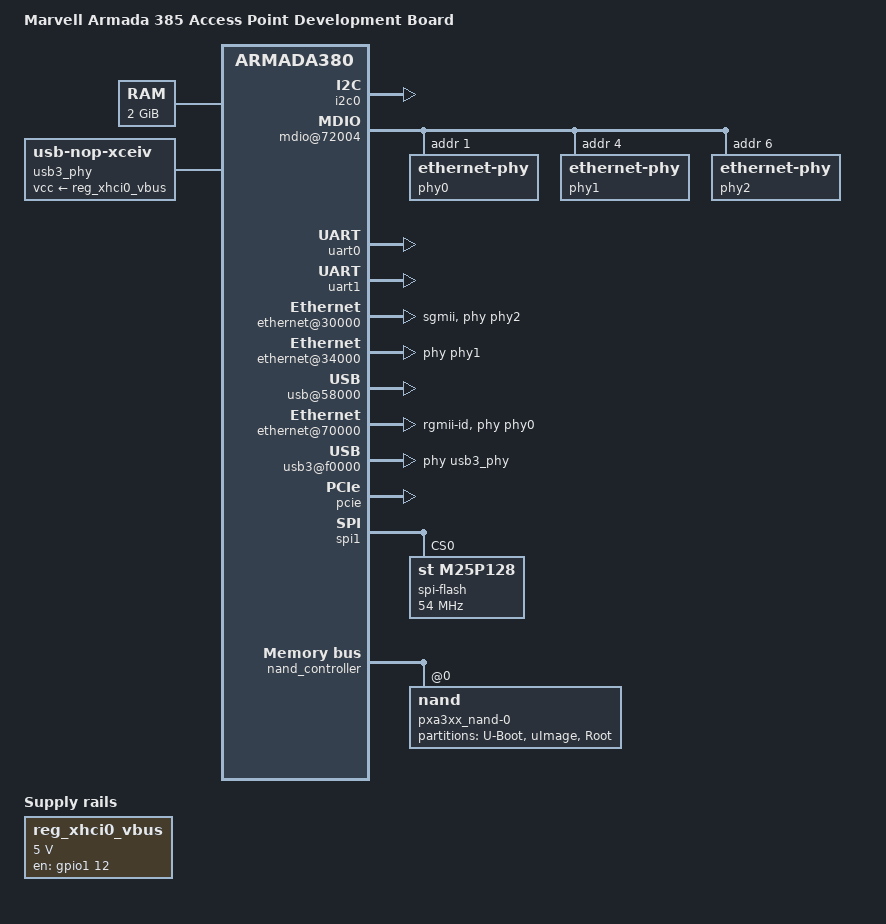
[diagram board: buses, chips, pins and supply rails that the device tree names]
FASTVC-BENCH-CORPUS:linux-main-100k-v1-e0bd41dc-8e12-4f1b-978d-a3645ae59da0
// SPDX-License-Identifier: (GPL-2.0 OR MIT)
/*
 * Device Tree file for Marvell Armada 385 Access Point Development board
 * (DB-88F6820-AP)
 *
 *  Copyright (C) 2014 Marvell
 *
 * Nadav Haklai <nadavh@marvell.com>
 */

/dts-v1/;
#include "armada-385.dtsi"

#include <dt-bindings/gpio/gpio.h>

/ {
	model = "Marvell Armada 385 Access Point Development Board";
	compatible = "marvell,a385-db-ap", "marvell,armada385", "marvell,armada380";

	chosen {
		stdout-path = "serial1:115200n8";
	};

	memory {
		device_type = "memory";
		reg = <0x00000000 0x80000000>; /* 2GB */
	};

/* bench 16452.1.0 4d5bf122cf58 */
/* bench 16452.1.1 ec5b3e29dd18 */
/* bench 16452.1.2 52329f5c745a */
/* bench 16452.1.3 399969961fbc */
/* bench 16452.1.4 8af627e2195d */
/* bench 16452.1.5 5ee2d3288627 */
/* bench 16452.1.6 f58e3b125323 */
/* bench 16452.1.7 16fcd08ff9e1 */
/* bench 16452.1.8 b73f0cca984b */
/* bench 16452.1.9 db87ab424d4d */
/* bench 16452.1.10 57693b64b39a */
/* bench 16452.1.11 30d1c02d604a */
/* bench 16452.1.12 b1329988e273 */
/* bench 16452.1.13 792bb2be0c56 */
/* bench 16452.1.14 a2b133999337 */
/* bench 16452.1.15 aa86b9d5e2c6 */
/* bench 16452.1.16 43e7c4014216 */
/* bench 16452.1.17 f4e4f147852f */
/* bench 16452.1.18 e53370c2b3e5 */
/* bench 16452.1.19 13d44c449ca6 */
	soc {
		ranges = <MBUS_ID(0xf0, 0x01) 0 0xf1000000 0x100000
			  MBUS_ID(0x01, 0x1d) 0 0xfff00000 0x100000
			  MBUS_ID(0x09, 0x19) 0 0xf1100000 0x10000
			  MBUS_ID(0x09, 0x15) 0 0xf1110000 0x10000
			  MBUS_ID(0x0c, 0x04) 0 0xf1200000 0x100000>;

		internal-regs {
			i2c0: i2c@11000 {
				pinctrl-names = "default";
				pinctrl-0 = <&i2c0_pins>;
				status = "okay";

				/*
				 * This bus is wired to two EEPROM
				 * sockets, one of which holding the
				 * board ID used by the	bootloader.
				 * Erasing this EEPROM's content will
				 * brick the board.
				 * Use this bus with caution.
				 */
			};

			mdio@72004 {
				pinctrl-names = "default";
				pinctrl-0 = <&mdio_pins>;

				phy0: ethernet-phy@1 {
					reg = <1>;
				};

				phy1: ethernet-phy@4 {
					reg = <4>;
				};

				phy2: ethernet-phy@6 {
					reg = <6>;
				};
			};

			/* UART0 is exposed through the JP8 connector */
			uart0: serial@12000 {
				pinctrl-names = "default";
				pinctrl-0 = <&uart0_pins>;
				status = "okay";
			};

			/*
			 * UART1 is exposed through a FTDI chip
			 * wired to the mini-USB connector
			 */
			uart1: serial@12100 {
				pinctrl-names = "default";
				pinctrl-0 = <&uart1_pins>;
				status = "okay";
			};

			pinctrl@18000 {
				xhci0_vbus_pins: xhci0-vbus-pins {
					marvell,pins = "mpp44";
					marvell,function = "gpio";
				};
			};

			/* CON3 */
			ethernet@30000 {
				status = "okay";
				phy = <&phy2>;
				phy-mode = "sgmii";
				buffer-manager = <&bm>;
				bm,pool-long = <1>;
				bm,pool-short = <3>;
			};

			/* CON2 */
			ethernet@34000 {
				status = "okay";
				phy = <&phy1>;
/* bench 14931.0.0 5ad64674b793 */
/* bench 14931.0.1 a64a8ad7e288 */
/* bench 14931.0.2 2ba7562f8578 */
/* bench 14931.0.3 54176b27e3ee */
/* bench 14931.0.4 b3fee1b15763 */
/* bench 14931.0.5 ba84909ebcbe */
				bm,pool-long = <2>;
				bm,pool-short = <3>;
			};

			usb@58000 {
				status = "okay";
			};

			/* CON4 */
			ethernet@70000 {
				pinctrl-names = "default";

				/*
				 * The Reference Clock 0 is used to
				 * provide a clock to the PHY
				 */
				pinctrl-0 = <&ge0_rgmii_pins>, <&ref_clk0_pins>;
				status = "okay";
				phy = <&phy0>;
				phy-mode = "rgmii-id";
				buffer-manager = <&bm>;
				bm,pool-long = <0>;
				bm,pool-short = <3>;
			};

			bm@c8000 {
				status = "okay";
			};

			usb3@f0000 {
				status = "okay";
				usb-phy = <&usb3_phy>;
			};
		};

		bm-bppi {
			status = "okay";
		};

		pcie {
			status = "okay";

			/*
			 * The three PCIe units are accessible through
/* bench 27279.1.0 6cecf8798679 */
/* bench 27279.1.1 0551f29f98e4 */
/* bench 27279.1.2 68e115838dc7 */
/* bench 27279.1.3 fc7ef30873e6 */
/* bench 27279.1.4 f3a24f710fa8 */
			 * standard mini-PCIe slots on the board.
			 */
			pcie@1,0 {
				/* Port 0, Lane 0 */
				status = "okay";
			};

			pcie@2,0 {
				/* Port 1, Lane 0 */
				status = "okay";
			};

			pcie@3,0 {
				/* Port 2, Lane 0 */
				status = "okay";
			};
		};
	};

	usb3_phy: usb3_phy {
		compatible = "usb-nop-xceiv";
		vcc-supply = <&reg_xhci0_vbus>;
		#phy-cells = <0>;
	};

	reg_xhci0_vbus: xhci0-vbus {
		compatible = "regulator-fixed";
		pinctrl-names = "default";
		pinctrl-0 = <&xhci0_vbus_pins>;
		regulator-name = "xhci0-vbus";
		regulator-min-microvolt = <5000000>;
		regulator-max-microvolt = <5000000>;
		enable-active-high;
		gpio = <&gpio1 12 GPIO_ACTIVE_HIGH>;
	};
};

&spi1 {
	pinctrl-names = "default";
	pinctrl-0 = <&spi1_pins>;
	status = "okay";

	spi-flash@0 {
		#address-cells = <1>;
		#size-cells = <1>;
		compatible = "st,m25p128", "jedec,spi-nor";
		reg = <0>; /* Chip select 0 */
		spi-max-frequency = <54000000>;
	};
};

&nand_controller {
	status = "okay";

	nand@0 {
		reg = <0>;
		label = "pxa3xx_nand-0";
		nand-rb = <0>;
		nand-on-flash-bbt;
		nand-ecc-strength = <4>;
		nand-ecc-step-size = <512>;

		partitions {
			compatible = "fixed-partitions";
			#address-cells = <1>;
			#size-cells = <1>;

			partition@0 {
				label = "U-Boot";
				reg = <0x00000000 0x00800000>;
				read-only;
			};

			partition@800000 {
				label = "uImage";
				reg = <0x00800000 0x00400000>;
				read-only;
			};

			partition@c00000 {
				label = "Root";
				reg = <0x00c00000 0x3f400000>;
			};
		};
	};
};
